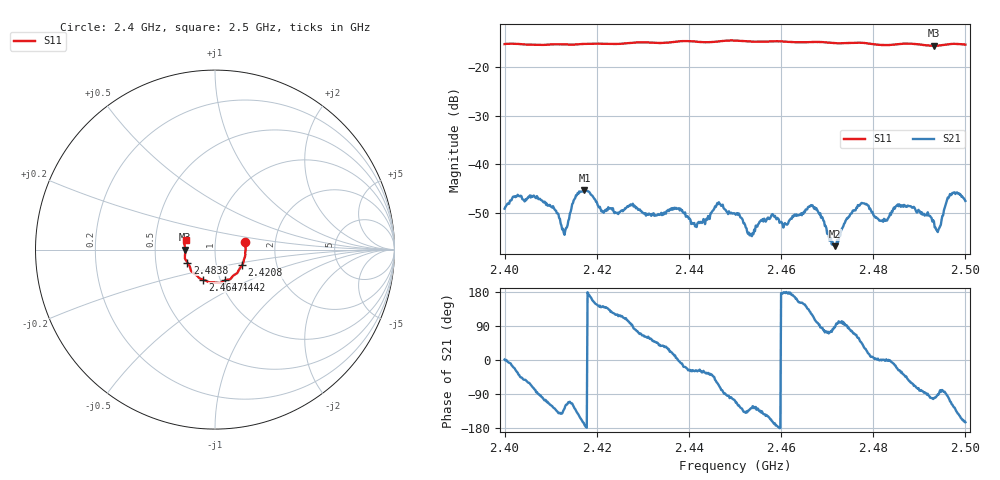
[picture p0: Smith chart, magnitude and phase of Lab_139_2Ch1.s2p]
# Hz S RI R 50
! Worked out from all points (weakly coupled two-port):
!   601 points, 2.4 GHz to 2.5 GHz, reference 50 ohm
!   highest |S21| = -45.31 dB at 2.4173 GHz (marker M1); lowest = -56.9 dB at 2.4717 GHz (marker M2)
!   lowest |S11| = -15.6 dB at 2.4932 GHz (marker M3), VSWR 1.40, Z = 35.8 - j0.095 ohm
!   |S11| at or under -10 dB: start of sweep to end of sweep
!   S12 and S22 are empty: the file has one direction only
!   S11 on the Smith chart (normalised r, x): 2.4 GHz: 1.40, +0.12; 2.4208 GHz: 1.33, -0.24; 2.4442 GHz: 1.05, -0.37; 2.4647 GHz: 0.83, -0.29; 2.4838 GHz: 0.73, -0.11; 2.5 GHz: 0.72, +0.08
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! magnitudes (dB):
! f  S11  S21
! 2.4 GHz  -15.3  -49.1
! 2.4067 GHz  -15.4  -46.9
! 2.413 GHz  -15.3  -54.5
! 2.4167 GHz  -15.2  -45.6
! 2.4173 GHz  -15.2  -45.3
! 2.4208 GHz  -15.2  -49.2
! 2.4333 GHz  -15.0  -50.2
! 2.4442 GHz  -14.9  -50.7
! 2.4465 GHz  -14.7  -47.8
! 2.45 GHz  -14.5  -50.2
! 2.4535 GHz  -14.7  -54.3
! 2.4647 GHz  -14.9  -50.0
! 2.4667 GHz  -14.8  -48.6
! 2.4717 GHz  -15.1  -56.9
! 2.4772 GHz  -15.0  -48.3
! 2.4833 GHz  -15.5  -50.9
! 2.4838 GHz  -15.4  -50.4
! 2.4883 GHz  -15.2  -48.8
! 2.4932 GHz  -15.6  -51.7
! 2.4942 GHz  -15.6  -53.4
! 2.497 GHz  -15.2  -46.2
! 2.5 GHz  -15.4  -47.5
